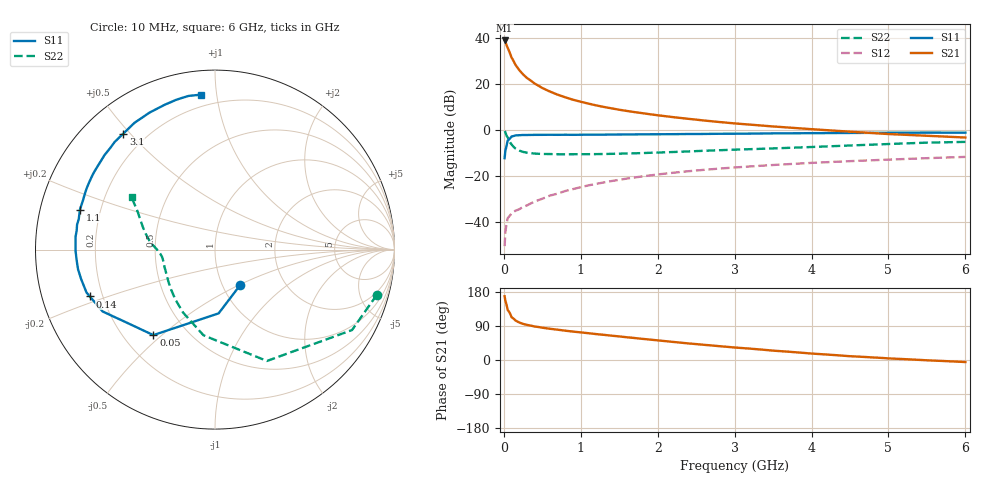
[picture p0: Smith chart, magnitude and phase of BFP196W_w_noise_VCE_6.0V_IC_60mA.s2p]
! (c) 2017  Infineon Technologies AG, Munich
! Infineon Technologies  Discrete & RF Semiconductors
! BFP196W
! VCE =  6.0 V,  IC =  60 mA
! Common Emitter S-Parameters:  Jan 2017
# GHz  S  MA  R  50
!  f  S11  S21  S12  S22
! GHz  MAG  ANG  MAG  ANG  MAG  ANG  MAG  ANG
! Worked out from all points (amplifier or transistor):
!   77 points, 10 MHz to 6 GHz, reference 50 ohm
!   highest |S21| = 38.7 dB at 10 MHz (marker M1)
!   |S21| within 3 dB of that: start of sweep to 47.39 MHz
!   unconditionally stable (mu >= 1): 640.5 MHz to 3.259 GHz
!   at 130 MHz: K = 0.46, MSG = 32.6 dB, |S12| = -35.6 dB
!   at 2.2 GHz: K = 1.04, MAG = 10.9 dB, |S12| = -18.6 dB
!   at 6 GHz: K = 0.94, MSG = 4.2 dB, |S12| = -11.8 dB
!   lowest NFmin = 1.47 dB at 450 MHz
!   S11 on the Smith chart (normalised r, x): 10 MHz: 1.21, -0.51; 50 MHz: 0.32, -0.47; 140 MHz: 0.15, -0.18; 1.1 GHz: 0.12, +0.14; 3.1 GHz: 0.12, +0.48; 6 GHz: 0.13, +0.91
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0.01  0.2424 -54.6  86.45 168.1  0.003 79.5  0.9364 -15.6
0.02  0.3556 -86.7  81.29 156.2  0.0061 71.6  0.8853 -30.4
0.05  0.5872 -125.8  59.76 131.9  0.0121 51.1  0.6848 -65.0
0.1  0.7147 -151.2  36.86 112.9  0.0152 44.1  0.4815 -97.7
0.14  0.7448 -159.5  27.99 106.6  0.0171 43.4  0.4069 -112.4
0.15  0.7547 -161.5  25.86 104.3  0.0176 43.2  0.3934 -116.9
0.2  0.7636 -167.5  19.71 99.0  0.0189 45.6  0.3542 -128.7
0.25  0.7709 -171.8  15.9 95.3  0.0214 47.4  0.3316 -137.3
0.3  0.7724 -174.7  13.29 92.7  0.0229 50.3  0.3188 -143.4
0.4  0.7767 -179.2  10.06 88.4  0.0278 56.0  0.3055 -151.8
0.5  0.7776 177.4  8.054 85.2  0.032 57.9  0.2992 -157.0
0.6  0.7802 174.6  6.736 82.4  0.0375 60.0  0.2981 -160.8
0.7  0.778 172.1  5.768 80.0  0.0414 62.1  0.2952 -163.6
0.9  0.778 167.4  4.482 75.0  0.0518 63.2  0.2953 -167.4
1.1  0.7848 163.5  3.692 70.7  0.0624 63.8  0.2962 -170.2
1.3  0.7851 159.4  3.128 66.4  0.0722 63.2  0.2986 -172.6
1.5  0.7906 155.7  2.722 62.2  0.0824 62.4  0.304 -174.8
2.1  0.8021 144.5  1.972 49.8  0.1123 58.1  0.3255 179.5
3.1  0.8239 128.3  1.335 31.5  0.1564 49.4  0.3753 170.9
4.1  0.8468 114.2  1.006 15.7  0.1951 40.9  0.4299 161.1
5.1  0.8632 103.5  0.795 3.3  0.229 32.7  0.4986 152.0
6  0.8668 95.0  0.68 -5.4  0.2585 25.7  0.5467 147.3
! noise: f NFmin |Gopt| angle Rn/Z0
0.45  1.47  0.52  -176  0.06
0.9  1.59  0.56  -170  0.07
1.9  2.42  0.69  -149  0.17
2.4  2.81  0.73  -144  0.27
